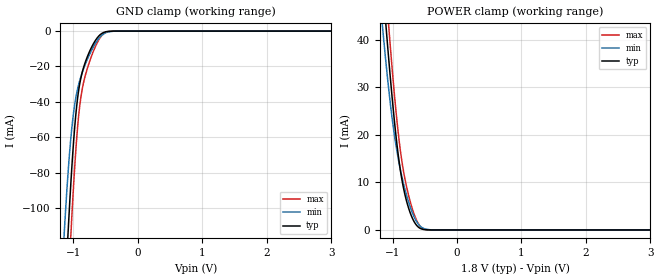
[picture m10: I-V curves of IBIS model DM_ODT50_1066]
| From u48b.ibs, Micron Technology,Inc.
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|MODEL DM_ODT50_1066 (DM Input model with 50-ohm ODT Submodel, 800/1066)
[Model]   DM_ODT50_1066
Model_type   Input
Vinl = 700.000mV
Vinh = 1.10V
|   typ   min   max
C_comp   2.80pF   2.61pF   3.05pF
| Note: C_comp decreases when the ODT circuit is enabled.
[Model Spec]
| Input threshold voltage corners
Vinl   0.70V   0.650V   0.750V
Vinh   1.10V   1.05V   1.150V
[Receiver Thresholds]
Vth   =  0.900V
Vth_min  =  0.882V
Vth_max  =  0.918V
Vinh_ac  =  0.200V
Vinh_dc  =  0.125V
Vinl_ac  = -0.200V
Vinl_dc  = -0.125V
Tslew_ac =  5.000ns |Not specified, so set to high value
Threshold_sensitivity = 0.50
Reference_supply Pullup_ref
[Voltage Range]   1.800V   1.700V   1.900V
[Pullup Reference]   1.800V   1.700V   1.900V
| Junction Temperature (Ambient temp is 25C typ, 85C min, 0C max)
[Temperature Range]   40.0   100.0   0.0
[Add Submodel]
| Submodel Name   Mode
50ohm_ODT_1066   Non-Driving
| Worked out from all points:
|   GND clamp passes 1 mA (typ) near -0.54 V on its own axis
|   POWER clamp passes 1 mA (typ) near -0.63 V on its own axis
[GND Clamp]
|   Voltage   I(typ)   I(min)   I(max)
-1.8V     -732.2mA   -653.2mA   -793.5mA
-1.145V   -159.8mA   -116.5mA   -197.5mA
-1.135V   -152.3mA   -110.2mA   -189.3mA
-1.085V   -116.2mA   -81.73mA   -149.7mA
-1.075V   -109.3mA   -76.67mA   -142.1mA
-1.035V   -83.8mA    -59mA      -112.9mA
-985mV    -57.11mA   -43.04mA   -80.43mA
-945mV    -41.31mA   -34.54mA   -59.19mA
-875mV    -25.18mA   -24.87mA   -35.51mA
-725mV    -9.699mA   -11.44mA   -14.8mA
-545mV    -1.049mA   -1.974mA   -2.008mA
3.6V      0A         0A         0A
[POWER Clamp]
|   Voltage   I(typ)   I(min)   I(max)
-1.8V     174.6mA    152.7mA    190.2mA
-1.155V   51.98mA    42.64mA    60.12mA
-1.145V   50.25mA    41.19mA    58.26mA
-1.095V   41.77mA    34.22mA    49.12mA
-1.055V   35.28mA    29.08mA    42.08mA
-945mV    19.6mA     17.62mA    24.74mA
-895mV    14.09mA    13.78mA    18.48mA
-845mV    9.866mA    10.61mA    13.6mA
-715mV    3.212mA    4.413mA    5.435mA
-575mV    369.7uA    851.5uA    854.5uA
-395mV    3.964uA    25.96uA    6.524uA
3.6V      0A         0A         0A
